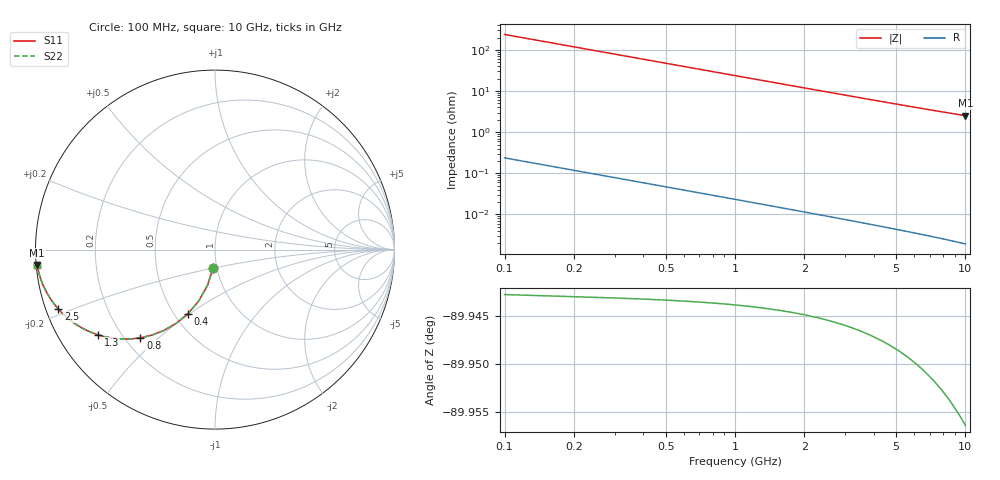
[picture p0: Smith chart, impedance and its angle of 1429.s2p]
# Hz S RI R 50.00
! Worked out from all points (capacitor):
!   100 points, 100 MHz to 10 GHz, reference 50 ohm
!   read as one part in shunt: C = 6.71 pF near 100 MHz
!   lowest |Z| = 2.53 ohm at 10 GHz (marker M1)
!   S11 on the Smith chart (normalised r, x): 100 MHz: 0.96, -0.20; 400 MHz: 0.58, -0.49; 800 MHz: 0.26, -0.44; 1.3 GHz: 0.12, -0.32; 2.5 GHz: 0.04, -0.18; 10 GHz: 0.00, -0.04
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1e8  -0.0111 -0.1041  0.9889 -0.1042  0.9889 -0.1042  -0.0111 -0.1041
2e8  -0.0427 -0.2015  0.9573 -0.2018  0.9573 -0.2018  -0.0427 -0.2015
3e8  -0.091 -0.287  0.9089 -0.2874  0.9089 -0.2874  -0.091 -0.287
4e8  -0.151 -0.3573  0.849 -0.3578  0.849 -0.3578  -0.151 -0.3573
5e8  -0.2173 -0.4116  0.7826 -0.4123  0.7826 -0.4123  -0.2173 -0.4116
6e8  -0.2855 -0.4508  0.7144 -0.4516  0.7144 -0.4516  -0.2855 -0.4508
7e8  -0.3522 -0.4767  0.6477 -0.4776  0.6477 -0.4776  -0.3522 -0.4767
8e8  -0.4152 -0.4917  0.5848 -0.4928  0.5848 -0.4928  -0.4152 -0.4917
1e9  -0.5257 -0.4982  0.4742 -0.4995  0.4742 -0.4995  -0.5257 -0.4982
1.1e9  -0.5728 -0.4934  0.4272 -0.4949  0.4272 -0.4949  -0.5728 -0.4934
1.3e9  -0.6517 -0.475  0.3482 -0.4768  0.3482 -0.4768  -0.6517 -0.475
1.5e9  -0.7135 -0.4506  0.2865 -0.4527  0.2865 -0.4527  -0.7135 -0.4506
1.8e9  -0.7818 -0.4113  0.2182 -0.4138  0.2182 -0.4138  -0.7818 -0.4113
2.1e9  -0.8297 -0.3739  0.1702 -0.3768  0.1702 -0.3768  -0.8297 -0.3739
2.5e9  -0.8734 -0.3303  0.1266 -0.3337  0.1266 -0.3337  -0.8734 -0.3303
2.9e9  -0.9027 -0.2939  0.0973 -0.2979  0.0973 -0.2979  -0.9027 -0.2939
3.4e9  -0.9272 -0.2569  0.0727 -0.2616  0.0727 -0.2616  -0.9272 -0.2569
4.2e9  -0.951 -0.2123  0.0489 -0.2181  0.0489 -0.2181  -0.951 -0.2123
5.1e9  -0.9663 -0.1764  0.0337 -0.1835  0.0337 -0.1835  -0.9663 -0.1764
6.7e9  -0.9802 -0.1339  0.0197 -0.1434  0.0197 -0.1434  -0.9802 -0.1339
8.4e9  -0.9874 -0.1049  0.0125 -0.1169  0.0125 -0.1169  -0.9874 -0.1049
1e10  -0.9911 -0.0857  0.00874 -0.1002  0.00874 -0.1002  -0.9911 -0.0857
